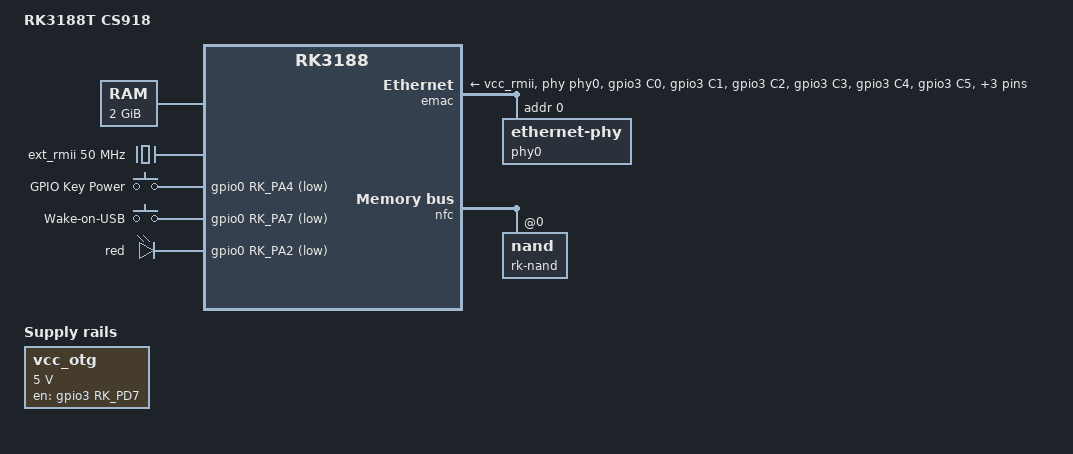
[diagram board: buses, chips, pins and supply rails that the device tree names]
// SPDX-License-Identifier: (GPL-2.0+ OR MIT)
/*
 * Copyright (c) 2020 Alex Bee <knaerzche@gmail.com>
 */

/dts-v1/;
#include <dt-bindings/input/input.h>
#include "rk3188-rbox.dtsi"

/ {
	model = "RK3188T CS918";

	memory@60000000 {
		device_type = "memory";
		reg = <0x60000000 0x80000000>;
	};

	ext_rmii: ext-rmii {
		compatible = "fixed-clock";
		clock-frequency = <50000000>;
		clock-output-names = "ext_rmii";
		#clock-cells = <0>;
	};

	gpio-keys {
		pinctrl-names = "default";
		pinctrl-0 = <&pwr_key &usb_int>;
		compatible = "gpio-keys";
		autorepeat;

		power {
			gpios = <&gpio0 RK_PA4 GPIO_ACTIVE_LOW>;
			linux,code = <KEY_POWER>;
			label = "GPIO Key Power";
			linux,input-type = <1>;
			wakeup-source;
			debounce-interval = <100>;
		};

		wake_on_usb: wake-on-usb {
			label = "Wake-on-USB";
			gpios = <&gpio0 RK_PA7 GPIO_ACTIVE_LOW>;
			linux,code = <KEY_WAKEUP>;
			wakeup-source;
		};
	};

	gpio-leds {
		compatible = "gpio-leds";

		sleep {
			label = "red";
			gpios = <&gpio0 RK_PA2 GPIO_ACTIVE_LOW>;
			default-state = "off";
		};
	};

	vcc_otg: usb-otg-regulator {
		compatible = "regulator-fixed";
		enable-active-high;
		gpio = <&gpio3 RK_PD7 GPIO_ACTIVE_HIGH>;
		pinctrl-names = "default";
		pinctrl-0 = <&otg_vbus_drv>, <&usb_wifi_power>;
		regulator-name = "otg-vbus";
		regulator-min-microvolt = <5000000>;
		regulator-max-microvolt = <5000000>;
	};
};

&emac {
	assigned-clocks = <&cru SCLK_MAC>;
	assigned-clock-parents = <&ext_rmii>;
	pinctrl-0 = <&emac_xfer_ext>, <&emac_mdio>, <&phy_int>;
	pinctrl-names = "default";
	phy = <&phy0>;
	phy-supply = <&vcc_rmii>;
	status = "okay";

	phy0: ethernet-phy@0 {
		reg = <0x0>;
		/* Interrupt is not connected */
	};
};

&nfc {
	#address-cells = <1>;
	#size-cells = <0>;

	nand@0 {
		reg = <0>;
		label = "rk-nand";
		nand-bus-width = <8>;
		nand-ecc-mode = "hw";
		nand-ecc-step-size = <1024>;
		nand-ecc-strength = <40>;
		nand-is-boot-medium;
		rockchip,boot-blks = <8>;
		rockchip,boot-ecc-strength = <40>;
	};
};

&pinctrl {
	emac {
		emac_xfer_ext: emac-xfer-ext {
			rockchip,pins = <3 RK_PC0 2 &pcfg_pull_up>, /* tx_en */
					<3 RK_PC1 2 &pcfg_pull_up>, /* txd1 */
					<3 RK_PC2 2 &pcfg_pull_up>, /* txd0 */
					<3 RK_PC3 2 &pcfg_pull_up>, /* rxd0 */
					<3 RK_PC4 2 &pcfg_pull_up>, /* rxd1 */
					<3 RK_PC5 3 &pcfg_pull_down>, /* mac_clk_ext */
					<3 RK_PC6 2 &pcfg_pull_down>, /* rx_err */
					<3 RK_PC7 2 &pcfg_pull_down>; /* crs_dvalid */
		};
	};

	keys {
		pwr_key: pwr-key {
			rockchip,pins = <0 RK_PA4 RK_FUNC_GPIO &pcfg_pull_up>;
		};
	};

	rtl8201f  {
		phy_int: phy-int {
			rockchip,pins = <3 RK_PD2 RK_FUNC_GPIO &pcfg_pull_up>;
		};
	};

	usb {
		usb_int: usb-int {
			rockchip,pins = <0 RK_PA7 RK_FUNC_GPIO &pcfg_pull_up>;
		};
		otg_vbus_drv: otg-vbus-drv {
			rockchip,pins = <3 RK_PD7 RK_FUNC_GPIO &pcfg_pull_none>;
		};
		usb_wifi_power: usb-wifi-power {
			rockchip,pins = <3 RK_PA0 RK_FUNC_GPIO &pcfg_pull_up>;
		};

	};
};

&usbphy0 {
	vbus-supply = <&vcc_otg>;
};
